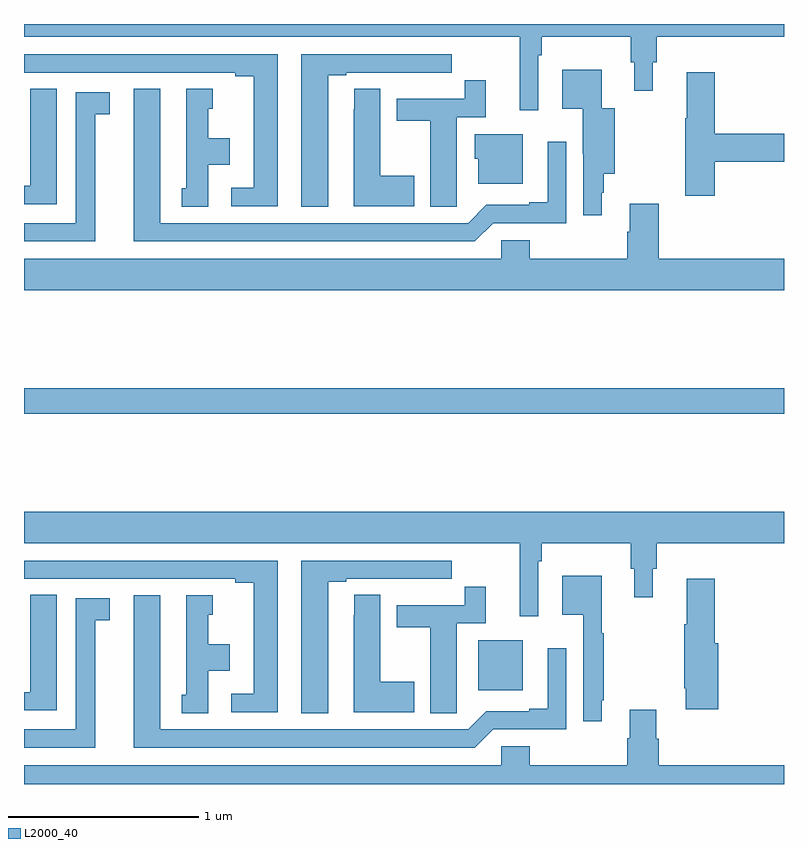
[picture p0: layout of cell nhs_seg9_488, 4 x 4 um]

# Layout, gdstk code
import gdstk
lib = gdstk.Library(unit=1e-6, precision=1e-09)
def R(c, l, rs):  # rectangles x0, y0, x1, y1
    for r in rs: c.add(gdstk.rectangle(r[:2], r[2:], *l))
def P(c, l, *ps):  # polygons
    for p in ps: c.add(gdstk.Polygon(p, *l))
L2000_40 = (2000, 40)

nhs_seg9_488 = lib.new_cell('nhs_seg9_488')
R(nhs_seg9_488, L2000_40, [(137.39,1180.994,137.626,1181.257), (135,1182.448,139,1182.584)])
P(nhs_seg9_488, L2000_40, [(137.706,1184.336),(137.726,1184.336),(137.726,1184.432),(138.193,1184.432),(138.193,1184.298),(138.212,1184.298),(138.212,1184.148),(138.31,1184.148),(138.31,1184.298),(138.329,1184.298),(138.329,1184.432),(139,1184.432),(139,1184.5),(135,1184.5),(135,1184.432),(137.609,1184.432),(137.609,1184.046),(137.706,1184.046)],
  [(136.336,1184.34),(135,1184.34),(135,1184.244),(136.112,1184.244),(136.112,1184.224),(136.208,1184.224),(136.208,1183.638),(136.092,1183.638),(136.092,1183.542),(136.336,1183.542)],
  [(136.6,1184.229),(136.696,1184.229),(136.696,1184.244),(136.972,1184.244),(136.972,1184.243),(137.138,1184.243),(137.138,1184.244),(137.251,1184.244),(137.251,1184.34),(136.46,1184.34),(136.46,1183.537),(136.6,1183.537)],
  [(138.04,1183.611),(138.052,1183.611),(138.052,1183.712),(138.108,1183.712),(138.108,1184.056),(138.04,1184.056),(138.04,1184.26),(137.834,1184.26),(137.834,1184.054),(137.942,1184.054),(137.942,1183.816),(137.943,1183.816),(137.943,1183.494),(138.04,1183.494)],
  [(138.635,1183.775),(139,1183.775),(139,1183.922),(138.635,1183.922),(138.635,1184.245),(138.488,1184.245),(138.488,1184.005),(138.481,1184.005),(138.481,1183.596),(138.635,1183.596)],
  [(137.277,1183.648),(137.278,1183.648),(137.278,1184.01),(137.429,1184.01),(137.429,1184.203),(137.32,1184.203),(137.32,1184.106),(136.961,1184.106),(136.961,1183.99),(137.138,1183.99),(137.138,1183.537),(137.277,1183.537)],
  [(137.053,1183.701),(136.876,1183.701),(136.876,1184.159),(136.737,1184.159),(136.737,1184.051),(136.736,1184.051),(136.736,1183.541),(137.053,1183.541)],
  [(135.172,1184.159),(135.033,1184.159),(135.033,1184.051),(135.032,1184.051),(135.032,1183.648),(135,1183.648),(135,1183.551),(135.172,1183.551)],
  [(137.469,1183.452),(137.853,1183.452),(137.853,1183.879),(137.756,1183.879),(137.756,1183.561),(137.66,1183.561),(137.66,1183.548),(137.433,1183.548),(137.337,1183.452),(135.718,1183.452),(135.718,1184.158),(135.578,1184.158),(135.578,1183.356),(137.373,1183.356)],
  [(135.97,1183.76),(136.084,1183.76),(136.084,1183.9),(135.97,1183.9),(135.97,1184.055),(135.994,1184.055),(135.994,1184.158),(135.854,1184.158),(135.854,1183.635),(135.83,1183.635),(135.83,1183.537),(135.97,1183.537)],
  [(135.376,1184.026),(135.451,1184.026),(135.451,1184.142),(135.272,1184.142),(135.272,1183.452),(135,1183.452),(135,1183.356),(135.376,1183.356)],
  [(137.626,1183.921),(137.372,1183.921),(137.372,1183.791),(137.39,1183.791),(137.39,1183.658),(137.626,1183.658)],
  [(139,1183.264),(138.341,1183.264),(138.341,1183.555),(138.188,1183.555),(138.188,1183.406),(138.176,1183.406),(138.176,1183.264),(137.663,1183.264),(137.663,1183.362),(137.511,1183.362),(137.511,1183.264),(135,1183.264),(135,1183.1),(139,1183.1)],
  [(137.706,1181.672),(137.726,1181.672),(137.726,1181.768),(138.193,1181.768),(138.193,1181.634),(138.212,1181.634),(138.212,1181.484),(138.31,1181.484),(138.31,1181.634),(138.329,1181.634),(138.329,1181.768),(139,1181.768),(139,1181.932),(135,1181.932),(135,1181.768),(137.609,1181.768),(137.609,1181.382),(137.706,1181.382)],
  [(136.336,1181.676),(135,1181.676),(135,1181.58),(136.112,1181.58),(136.112,1181.56),(136.208,1181.56),(136.208,1180.974),(136.092,1180.974),(136.092,1180.878),(136.336,1180.878)],
  [(136.6,1181.565),(136.696,1181.565),(136.696,1181.58),(136.972,1181.58),(136.972,1181.579),(137.138,1181.579),(137.138,1181.58),(137.251,1181.58),(137.251,1181.676),(136.46,1181.676),(136.46,1180.873),(136.6,1180.873)],
  [(138.04,1180.942),(138.052,1180.942),(138.052,1181.294),(138.04,1181.294),(138.04,1181.596),(137.834,1181.596),(137.834,1181.39),(137.943,1181.39),(137.943,1180.83),(138.04,1180.83)],
  [(138.653,1181.241),(138.635,1181.241),(138.635,1181.581),(138.488,1181.581),(138.488,1181.341),(138.475,1181.341),(138.475,1181.005),(138.482,1181.005),(138.482,1180.893),(138.653,1180.893)],
  [(137.277,1180.984),(137.278,1180.984),(137.278,1181.346),(137.429,1181.346),(137.429,1181.539),(137.32,1181.539),(137.32,1181.442),(136.961,1181.442),(136.961,1181.326),(137.138,1181.326),(137.138,1180.873),(137.277,1180.873)],
  [(135.172,1181.495),(135.033,1181.495),(135.033,1181.387),(135.032,1181.387),(135.032,1180.984),(135,1180.984),(135,1180.887),(135.172,1180.887)],
  [(137.053,1181.037),(136.876,1181.037),(136.876,1181.495),(136.737,1181.495),(136.737,1181.387),(136.736,1181.387),(136.736,1180.877),(137.053,1180.877)],
  [(137.469,1180.788),(137.853,1180.788),(137.853,1181.215),(137.756,1181.215),(137.756,1180.897),(137.66,1180.897),(137.66,1180.884),(137.433,1180.884),(137.337,1180.788),(135.718,1180.788),(135.718,1181.494),(135.578,1181.494),(135.578,1180.692),(137.373,1180.692)],
  [(135.97,1181.096),(136.084,1181.096),(136.084,1181.236),(135.97,1181.236),(135.97,1181.391),(135.994,1181.391),(135.994,1181.494),(135.854,1181.494),(135.854,1180.971),(135.83,1180.971),(135.83,1180.873),(135.97,1180.873)],
  [(135.376,1181.362),(135.451,1181.362),(135.451,1181.478),(135.272,1181.478),(135.272,1180.788),(135,1180.788),(135,1180.692),(135.376,1180.692)],
  [(139,1180.6),(138.341,1180.6),(138.341,1180.737),(138.328,1180.737),(138.328,1180.891),(138.188,1180.891),(138.188,1180.742),(138.176,1180.742),(138.176,1180.6),(137.663,1180.6),(137.663,1180.698),(137.511,1180.698),(137.511,1180.6),(135,1180.6),(135,1180.5),(139,1180.5)])

lib.write_gds('nhs_seg9_488.gds')
